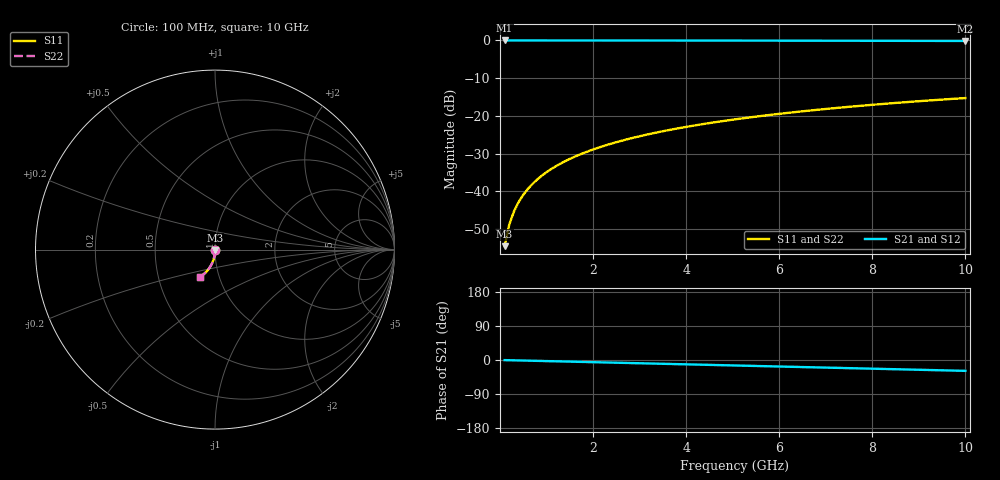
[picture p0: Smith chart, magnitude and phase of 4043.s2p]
# Hz S RI R 50.00
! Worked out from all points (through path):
!   100 points, 100 MHz to 10 GHz, reference 50 ohm
!   highest |S21| = 0.00 dB at 100 MHz (marker M1); lowest = -0.1 dB at 10 GHz (marker M2)
!   group delay of S21, straight-line fit = 7.97 ps
!   lowest |S11| = -54.6 dB at 100 MHz (marker M3), VSWR 1.00, Z = 50.1 - j0.179 ohm
!   |S11| at or under -10 dB: start of sweep to end of sweep
!   |S22| runs from -54.6 to -15.3 dB; largest |S21 - S12| = 0
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1e8  0.000542 -0.00179  0.9994 -0.00498  0.9994 -0.00498  0.000542 -0.00179
2e8  0.000516 -0.00358  0.9994 -0.00995  0.9994 -0.00995  0.000516 -0.00358
3e8  0.000471 -0.00537  0.9993 -0.0149  0.9993 -0.0149  0.000471 -0.00537
4e8  0.000407 -0.00716  0.9992 -0.0199  0.9992 -0.0199  0.000407 -0.00716
5e8  0.000326 -0.00895  0.9991 -0.0249  0.9991 -0.0249  0.000326 -0.00895
6e8  0.000226 -0.0107  0.9989 -0.0299  0.9989 -0.0299  0.000226 -0.0107
7e8  0.000109 -0.0125  0.9987 -0.0348  0.9987 -0.0348  0.000109 -0.0125
8e8  -2.69e-05 -0.0143  0.9985 -0.0398  0.9985 -0.0398  -2.69e-05 -0.0143
9e8  -0.00018 -0.0161  0.9983 -0.0448  0.9983 -0.0448  -0.00018 -0.0161
1.1e9  -0.000541 -0.0197  0.9977 -0.0547  0.9977 -0.0547  -0.000541 -0.0197
1.4e9  -0.00122 -0.025  0.9966 -0.0697  0.9966 -0.0697  -0.00122 -0.025
1.8e9  -0.00237 -0.0321  0.9948 -0.0895  0.9948 -0.0895  -0.00237 -0.0321
2.1e9  -0.00341 -0.0374  0.9932 -0.1044  0.9932 -0.1044  -0.00341 -0.0374
2.5e9  -0.00506 -0.0444  0.9906 -0.1242  0.9906 -0.1242  -0.00506 -0.0444
2.9e9  -0.00698 -0.0514  0.9875 -0.1439  0.9875 -0.1439  -0.00698 -0.0514
3.4e9  -0.00978 -0.06  0.9831 -0.1685  0.9831 -0.1685  -0.00978 -0.06
4.2e9  -0.0151 -0.0734  0.9746 -0.2075  0.9746 -0.2075  -0.0151 -0.0734
5.1e9  -0.0224 -0.0879  0.9629 -0.2509  0.9629 -0.2509  -0.0224 -0.0879
5.9e9  -0.03 -0.1002  0.9508 -0.2889  0.9508 -0.2889  -0.03 -0.1002
6.7e9  -0.0385 -0.1119  0.937 -0.3262  0.937 -0.3262  -0.0385 -0.1119
8.4e9  -0.0595 -0.1341  0.9023 -0.4031  0.9023 -0.4031  -0.0595 -0.1341
1e10  -0.0823 -0.1513  0.8635 -0.4719  0.8635 -0.4719  -0.0823 -0.1513
